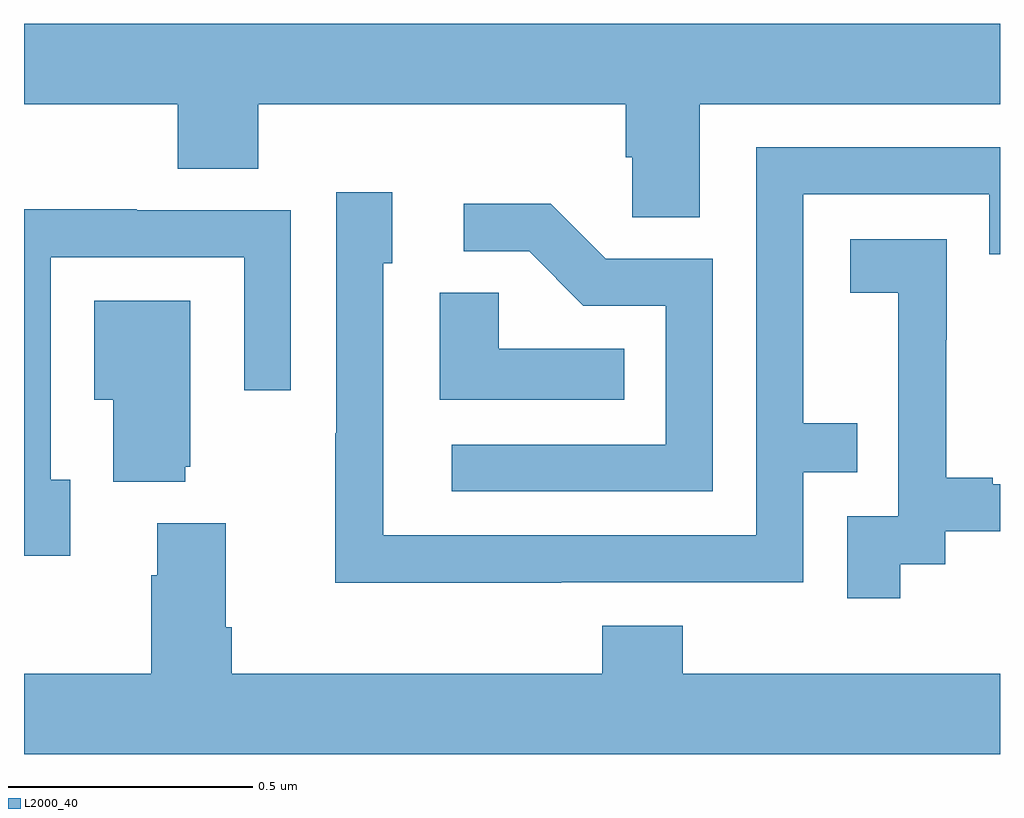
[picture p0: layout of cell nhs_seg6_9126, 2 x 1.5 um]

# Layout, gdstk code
import gdstk
lib = gdstk.Library(unit=1e-6, precision=1e-09)
def P(c, l, *ps):  # polygons
    for p in ps: c.add(gdstk.Polygon(p, *l))
L2000_40 = (2000, 40)

nhs_seg6_9126 = lib.new_cell('nhs_seg6_9126')
P(nhs_seg6_9126, L2000_40, [(231.385,926.024),(232,926.024),(232,926.188),(230,926.188),(230,926.024),(230.315,926.024),(230.315,925.891),(230.48,925.891),(230.48,926.024),(231.233,926.024),(231.233,925.915),(231.246,925.915),(231.246,925.792),(231.385,925.792)],
  [(231.101,925.044),(231.597,925.044),(231.597,925.269),(231.707,925.269),(231.707,925.37),(231.597,925.37),(231.597,925.839),(231.978,925.839),(231.978,925.716),(232,925.716),(232,925.935),(231.501,925.935),(231.501,925.14),(230.736,925.14),(230.736,925.698),(230.755,925.698),(230.755,925.843),(230.64,925.843),(230.64,925.349),(230.638,925.349),(230.638,925.043),(231.101,925.043)],
  [(231.411,925.707),(231.192,925.707),(231.079,925.82),(230.901,925.82),(230.901,925.722),(231.035,925.722),(231.146,925.611),(231.315,925.611),(231.315,925.326),(230.877,925.326),(230.877,925.23),(231.411,925.23)],
  [(230.095,925.254),(230.055,925.254),(230.055,925.71),(230.451,925.71),(230.451,925.437),(230.547,925.437),(230.547,925.806),(230.231,925.806),(230.231,925.808),(230,925.808),(230,925.098),(230.095,925.098)],
  [(231.796,925.081),(231.888,925.081),(231.888,925.149),(232,925.149),(232,925.245),(231.985,925.245),(231.985,925.258),(231.89,925.258),(231.89,925.541),(231.891,925.541),(231.891,925.747),(231.693,925.747),(231.693,925.637),(231.791,925.637),(231.791,925.409),(231.792,925.409),(231.792,925.179),(231.687,925.179),(231.687,925.011),(231.796,925.011)],
  [(231.23,925.522),(230.973,925.522),(230.973,925.637),(230.852,925.637),(230.852,925.418),(231.23,925.418)],
  [(230.33,925.281),(230.341,925.281),(230.341,925.621),(230.144,925.621),(230.144,925.418),(230.183,925.418),(230.183,925.25),(230.33,925.25)],
  [(232,924.856),(231.35,924.856),(231.35,924.955),(231.185,924.955),(231.185,924.856),(230.426,924.856),(230.426,924.952),(230.413,924.952),(230.413,925.165),(230.273,925.165),(230.273,925.058),(230.261,925.058),(230.261,924.856),(230,924.856),(230,924.692),(232,924.692)])

lib.write_gds('nhs_seg6_9126.gds')
